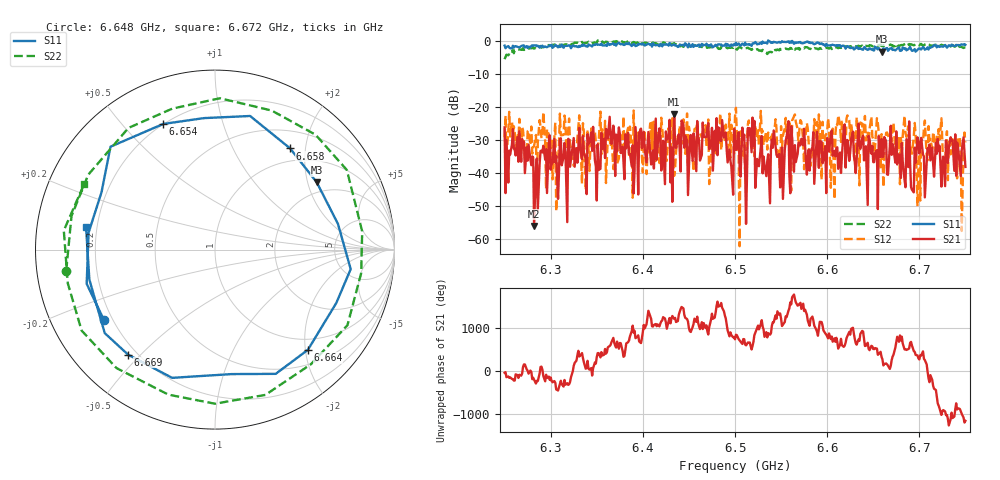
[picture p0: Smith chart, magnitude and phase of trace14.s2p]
# Hz S RI R 50
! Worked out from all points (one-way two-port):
!   401 points, 6.25 GHz to 6.75 GHz, reference 50 ohm
!   highest |S21| = -22.27 dB at 6.434 GHz (marker M1); lowest = -56.0 dB at 6.282 GHz (marker M2)
!   lowest |S11| = -3.4 dB at 6.659 GHz (marker M3), VSWR 5.24, Z = 82.1 + j114 ohm
!   |S11| at or under -10 dB: nowhere
!   |S22| runs from -5.7 to 0.0 dB; largest |S21 - S12| = 0.11
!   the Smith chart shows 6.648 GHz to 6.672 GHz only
!   S11 on the Smith chart (normalised r, x): 6.648 GHz: 0.17, -0.28; 6.654 GHz: 0.20, +0.65; 6.658 GHz: 0.77, +1.72; 6.664 GHz: 0.77, -2.05; 6.669 GHz: 0.17, -0.46; 6.672 GHz: 0.16, +0.08
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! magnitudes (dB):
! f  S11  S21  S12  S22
! 6.25 GHz  -1.5  -26.2  -29.2  -5.7
! 6.282 GHz  -1.5  -56.0  -31.8  -2.5
! 6.334 GHz  -1.4  -35.9  -43.3  -0.4
! 6.418 GHz  -1.7  -26.5  -37.0  -1.2
! 6.434 GHz  -1.2  -22.3  -40.9  -0.8
! 6.5 GHz  -1.4  -28.1  -23.0  -2.2
! 6.506 GHz  -1.6  -41.1  -27.5  -2.1
! 6.525 GHz  -1.0  -37.2  -27.1  -2.8
! 6.584 GHz  -0.6  -32.2  -32.5  -2.8
! 6.648 GHz  -2.7  -34.2  -23.0  -1.5
! 6.654 GHz  -2.4  -33.1  -23.5  -1.5
! 6.658 GHz  -3.1  -35.2  -39.0  -1.3
! 6.659 GHz  -3.4  -29.8  -28.3  -1.7
! 6.664 GHz  -2.4  -30.4  -27.9  -1.3
! 6.668 GHz  -2.5  -32.0  -29.6  -1.3
! 6.669 GHz  -2.4  -25.8  -31.0  -1.2
! 6.672 GHz  -2.7  -32.9  -24.8  -1.8
! 6.694 GHz  -2.9  -45.9  -28.9  -1.4
! 6.7 GHz  -2.4  -34.1  -30.4  -1.4
! 6.705 GHz  -2.2  -35.0  -26.6  -1.4
! 6.744 GHz  -1.5  -38.1  -29.2  -1.9
! 6.75 GHz  -1.3  -38.2  -30.8  -2.1
